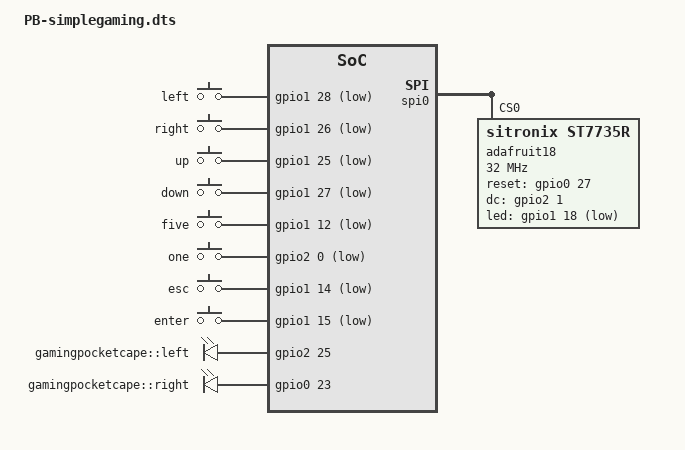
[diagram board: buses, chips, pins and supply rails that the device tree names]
/*
 * Copyright (C) 2012 Texas Instruments Incorporated - http://www.ti.com/
 *
 * This program is free software; you can redistribute it and/or modify
 * it under the terms of the GNU General Public License version 2 as
 * published by the Free Software Foundation.
 */
/dts-v1/;
/plugin/;

#include <dt-bindings/gpio/gpio.h>
#include <dt-bindings/pinctrl/am33xx.h>
#include <dt-bindings/interrupt-controller/irq.h>

/ {
	/*
	 * Free up the pins used by the cape from the pinmux helpers.
	 */
	fragment@0 {
		target = <&ocp>;
		__overlay__ {
			P1_04_pinmux { status = "disabled"; };	/* LEDs - left */
			P2_03_pinmux { status = "disabled"; };	/* LEDs - right */
			P1_06_pinmux { status = "disabled"; }; 	/* LCD - CS */
			P1_08_pinmux { status = "disabled"; };	/* LCD - SCLK */
			P1_10_pinmux { status = "disabled"; };	/* LCD - MOSI? */
			P1_12_pinmux { status = "disabled"; };	/* LCD - MISO? */
			P2_01_pinmux { status = "disabled"; };	/* LCD - LED */
			P2_17_pinmux { status = "disabled"; };	/* LCD - DC */
			P2_19_pinmux { status = "disabled"; };	/* LCD - RST */
			P2_02_pinmux { status = "disabled"; };	/* keys - down */
			P2_04_pinmux { status = "disabled"; };	/* keys - right */
			P2_06_pinmux { status = "disabled"; };	/* keys - up */
	 		P2_08_pinmux { status = "disabled"; };	/* keys - left */
			P2_18_pinmux { status = "disabled"; };	/* keys - enter */
			P2_20_pinmux { status = "disabled"; };	/* keys - one */
			P2_22_pinmux { status = "disabled"; };	/* keys - esc */
			P2_24_pinmux { status = "disabled"; };	/* keys - five */
		};
	};

	/*
	 * Free up the gpios used by the cape-universal gpio helpers.
	 */
	fragment@1 {
		target = <&ocp>;
		__overlay__ {
			cape-universal { status = "disabled"; };
		};
	};

	/*
	 * Make a new set of gpio helpers.
	 */
	fragment@2 {
		target = <&ocp>;
		__overlay__ {
			cape-universal@1 {
				compatible = "gpio-of-helper";
				status = "okay";
				pinctrl-names = "default";
				pinctrl-0 = <>;

				P1_02 {
					gpio-name = "P1_02";
					gpio = <&gpio2 23 0>;
					input;
					dir-changeable;
				};

				P1_20 {
					gpio-name = "P1_20";
					gpio = <&gpio0 20 0>;
					input;
					dir-changeable;
				};

				P1_26 {
					gpio-name = "P1_26";
					gpio = <&gpio0 12 0>;
					input;
					dir-changeable;
				};

				P1_28 {
					gpio-name = "P1_28";
					gpio = <&gpio0 13 0>;
					input;
					dir-changeable;
				};

				P1_29 {
					gpio-name = "P1_29";
					gpio = <&gpio3 21 0>;
					input;
					dir-changeable;
				};

				P1_30 {
					gpio-name = "P1_30";
					gpio = <&gpio1 11 0>;
					input;
					dir-changeable;
				};

				P1_31 {
					gpio-name = "P1_31";
					gpio = <&gpio3 18 0>;
					input;
					dir-changeable;
				};

				P1_32 {
					gpio-name = "P1_32";
					gpio = <&gpio1 10 0>;
					input;
					dir-changeable;
				};

				P1_33 {
					gpio-name = "P1_33";
					gpio = <&gpio3 15 0>;
					input;
					dir-changeable;
				};

				P1_34 {
					gpio-name = "P1_34";
					gpio = <&gpio0 26 0>;
					input;
					dir-changeable;
				};

				P1_35 {
					gpio-name = "P1_35";
					gpio = <&gpio2 24 0>;
					input;
					dir-changeable;
				};

				P1_36 {
					gpio-name = "P1_36";
					gpio = <&gpio3 14 0>;
					input;
					dir-changeable;
				};

				P2_05 {
					gpio-name = "P2_05";
					gpio = <&gpio0 30 0>;
					input;
					dir-changeable;
				};

				P2_07 {
					gpio-name = "P2_07";
					gpio = <&gpio0 31 0>;
					input;
					dir-changeable;
				};

				P2_09 {
					gpio-name = "P2_09";
					gpio = <&gpio0 15 0>;
					input;
					dir-changeable;
				};

				P2_10 {
					gpio-name = "P2_10";
					gpio = <&gpio1 20 0>;
					input;
					dir-changeable;
				};

				P2_11 {
					gpio-name = "P2_11";
					gpio = <&gpio0 14 0>;
					input;
					dir-changeable;
				};

				P2_25 {
					gpio-name = "P2_25";
					gpio = <&gpio1 9 0>;
					input;
					dir-changeable;
				};

				P2_27 {
					gpio-name = "P2_27";
					gpio = <&gpio1 8 0>;
					input;
					dir-changeable;
				};

				P2_28 {
					gpio-name = "P2_28";
					gpio = <&gpio3 20 0>;
					input;
					dir-changeable;
				};

				P2_29 {
					gpio-name = "P2_29";
					gpio = <&gpio0 7 0>;
					input;
					dir-changeable;
				};

				P2_30 {
					gpio-name = "P2_30";
					gpio = <&gpio3 17 0>;
					input;
					dir-changeable;
				};

				P2_31 {
					gpio-name = "P2_31";
					gpio = <&gpio0 19 0>;
					input;
					dir-changeable;
				};

				P2_32 {
					gpio-name = "P2_32";
					gpio = <&gpio3 16 0>;
					input;
					dir-changeable;
				};

				P2_33 {
					gpio-name = "P2_33";
					gpio = <&gpio1 13 0>;
					input;
					dir-changeable;
				};

				P2_34 {
					gpio-name = "P2_34";
					gpio = <&gpio3 19 0>;
					input;
					dir-changeable;
				};

				P2_35 {
					gpio-name = "P2_35";
					gpio = <&gpio2 22 0>;
					input;
					dir-changeable;
				};
			};
		};
	};

	/*
	 * Free up the SPI port used by the cape and reallocate it for the LCD.
	 */
	fragment@3 {
		target = <&spi0>;
		__overlay__ {
			#address-cells = <1>;
			#size-cells = <0>;
			status = "okay";

			channel@0 {
				status = "disabled";
			};
			channel@1 {
				status = "disabled";
			};

			adafruit18: adafruit18@0{
				compatible = "sitronix,st7735r";
				pinctrl-names = "default";
				pinctrl-0 = <
					&P1_06_spi_cs_pin 	/* CS */
					&P1_08_spi_sclk_pin 	/* SCLK */
					&P1_10_spi_pin 		/* D0 (MOSI?) */
					&P1_12_spi_pin 		/* D1 (MISO?) */
					&P2_19_gpio_pin		/* RST */
					&P2_17_gpio_pin		/* DC */
					&P2_01_gpio_pin		/* LED */
				>;
				reg = <0>;
				buswidth = <8>;
				reset-gpios = <&gpio0 27 0>;
				dc-gpios = <&gpio2 1 0>;
				led-gpios = <&gpio1 18 1>;
				debug = <1>;
				spi-max-frequency = <32000000>;
				rotate = <0>;
				bgr;
				fps = <30>;
			};
		};
	};
	
	/*
	 * Load the drivers for the buttons and LEDs.
	 */
	fragment@4 {
		target-path="/";
		__overlay__ {

			gpio-keys {
				compatible = "gpio-keys";
				autorepeat;

				pinctrl-names = "default";
				pinctrl-0 = <
					&P2_02_gpio_pu_pin	/* down */
					&P2_04_gpio_pu_pin	/* right */
					&P2_06_gpio_pu_pin	/* up */
					&P2_08_gpio_pu_pin	/* left */
					&P2_18_gpio_pu_pin	/* enter */
					&P2_20_gpio_pu_pin	/* one */
					&P2_22_gpio_pu_pin	/* esc */
					&P2_24_gpio_pu_pin	/* five */
				>;
		
				left {
					label = "left";
					linux,code = <105>;
					gpios = <&gpio1 28 GPIO_ACTIVE_LOW>;
				};
		
				right {
					label = "right";
					linux,code = <106>;
					gpios = <&gpio1 26 GPIO_ACTIVE_LOW>;
				};
		
				up {
					label = "up";
					linux,code = <103>;
					gpios = <&gpio1 25 GPIO_ACTIVE_LOW>;
				};
		
				down {
					label = "down";
					linux,code = <108>;
					gpios = <&gpio1 27 GPIO_ACTIVE_LOW>;
				};
		
				five {
					label = "five";
					linux,code = <6>;
					gpios = <&gpio1 12 GPIO_ACTIVE_LOW>;
				};
		
				one {
					label = "one";
					linux,code = <2>;
					gpios = <&gpio2 0 GPIO_ACTIVE_LOW>;
				};
		
				esc {
					label = "esc";
					linux,code = <1>;
					gpios = <&gpio1 14 GPIO_ACTIVE_LOW>;
				};
		
				enter {
					label = "enter";
					linux,code = <28>;
					gpios = <&gpio1 15 GPIO_ACTIVE_LOW>;
				};
			};
		
			capeleds {
				compatible = "gpio-leds";
		
				pinctrl-names = "default";
				pinctrl-0 = <
					&P1_04_gpio_pin	/* left */
					&P2_03_gpio_pin	/* right */
				>;
		
				led@1 {
					label = "gamingpocketcape::left";
					gpios = <&gpio2 25 GPIO_ACTIVE_HIGH>;
					default-state = "off";
				};
		
				led@2 {
					label = "gamingpocketcape::right";
					gpios = <&gpio0 23 GPIO_ACTIVE_HIGH>;
					default-state = "off";
				};
			};
		};
	};
};
						
